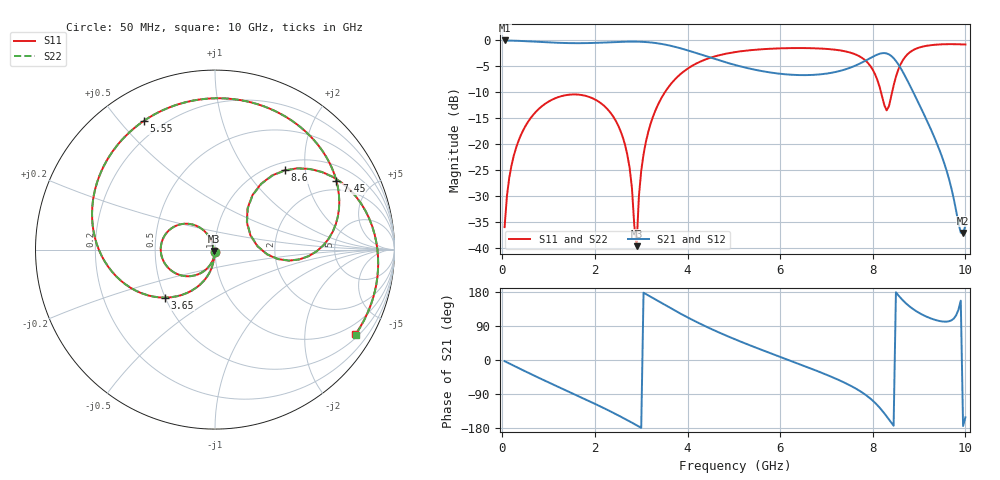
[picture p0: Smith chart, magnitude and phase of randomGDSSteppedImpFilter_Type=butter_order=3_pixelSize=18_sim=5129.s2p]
! freq	dB(S11)	phase(S11)	dB(S12)	phase(S12)
!  dB(S21)	phase(S21)	dB(S22)	phase(S22)
!S-par simulation data
#  GHz  S  DB  R 50
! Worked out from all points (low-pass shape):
!   200 points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, 50 MHz to 10 GHz, reference 50 ohm
!   highest |S21| = -0.01 dB at 50 MHz (marker M1); lowest = -37.0 dB at 9.95 GHz (marker M2)
!   |S21| within 3 dB of the highest: start of sweep to 4.39 GHz; 8.03 GHz to 8.402 GHz (372.5 MHz wide, 4.53 % of centre)
!   lowest |S11| = -39.6 dB at 2.9 GHz (marker M3), VSWR 1.02, Z = 49.3 - j0.779 ohm
!   |S11| at or under -10 dB: start of sweep to 3.509 GHz; 8.179 GHz to 8.417 GHz (237.8 MHz wide, 2.87 % of centre)
!   |S22| runs from -39.4 to -0.7 dB; largest |S21 - S12| = 0
!   S11 on the Smith chart (normalised r, x): 50 MHz: 1.00, -0.03; 3.65 GHz: 0.50, -0.31; 5.55 GHz: 0.13, +0.58; 7.45 GHz: 1.58, +3.05; 8.6 GHz: 1.15, +1.55; 10 GHz: 0.61, -3.50
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0.05  -35.91 -92.8  -0.01 -3.1  -0.01 -3.1  -35.91 -92.8
0.2  -23.99 -102.3  -0.04 -12.2  -0.04 -12.2  -23.99 -102.3
0.5  -16.47 -120.6  -0.14 -30.1  -0.14 -30.1  -16.47 -120.6
1.75  -10.56 168.4  -0.53 -101.3  -0.53 -101.3  -10.56 168.4
2.6  -18.56 119.5  -0.26 -152.2  -0.26 -152.2  -18.56 119.7
2.75  -24.57 112.9  -0.23 -162.1  -0.23 -162.1  -24.56 113.1
2.9  -39.57 -131.2  -0.23 -172.2  -0.23 -172.2  -39.38 -132.4
2.95  -29.94 -98.3  -0.24 -175.6  -0.24 -175.6  -29.92 -99.0
3.05  -21.91 -98.0  -0.28 177.5  -0.28 177.5  -21.90 -98.3
3.4  -11.68 -119.2  -0.61 153.0  -0.61 153.0  -11.68 -119.4
3.65  -8.28 -136.0  -1.06 135.7  -1.06 135.7  -8.28 -136.1
4.4  -3.62 177.4  -3.04 88.2  -3.04 88.2  -3.62 177.3
5.05  -2.21 143.0  -4.78 53.4  -4.78 53.4  -2.21 143.0
5.55  -1.73 119.1  -5.81 29.1  -5.81 29.1  -1.73 119.0
6.7  -1.50 66.5  -6.63 -24.2  -6.63 -24.2  -1.50 66.5
7.45  -2.19 29.5  -5.44 -63.4  -5.44 -63.4  -2.19 29.4
8.05  -6.52 -6.7  -2.91 -113.1  -2.91 -113.1  -6.51 -6.6
8.35  -12.64 40.5  -2.68 -157.0  -2.68 -157.0  -12.60 40.3
8.6  -4.60 48.7  -5.30 164.1  -5.30 164.1  -4.60 48.5
9.15  -1.05 8.2  -15.07 114.9  -15.07 114.9  -1.05 8.1
9.95  -0.76 -29.2  -37.04 -174.3  -37.04 -174.3  -0.75 -29.3
10  -0.78 -31.1  -35.66 -151.3  -35.66 -151.3  -0.77 -31.2
